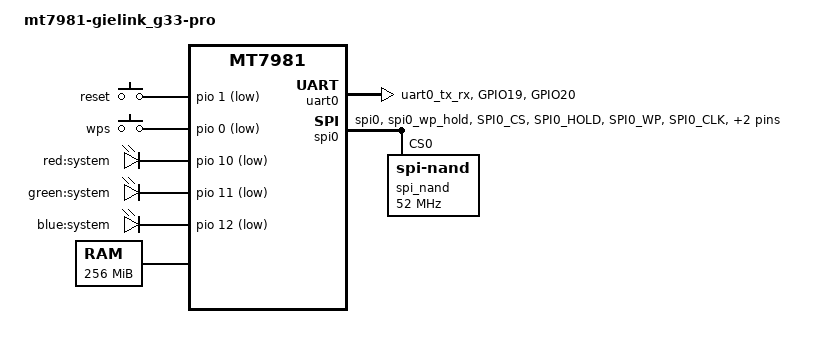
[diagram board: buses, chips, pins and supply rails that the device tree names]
// SPDX-License-Identifier: GPL-2.0

/dts-v1/;
#include "mt7981.dtsi"
#include <dt-bindings/gpio/gpio.h>
#include <dt-bindings/input/input.h>

/ {
	#address-cells = <1>;
	#size-cells = <1>;
	model = "mt7981-gielink_g33-pro";
	compatible = "mediatek,mt7981", "mediatek,mt7981-rfb";

	chosen {
		stdout-path = &uart0;
		tick-timer = &timer0;
	};

	config {
		bootcmd = "mtkboardboot";
		blink_led = "red:system";
		system_led = "blue:system";
	};

	mtd-layout {
		layout@0 {
			label = "default";
			mtdids = "nmbm0=nmbm0";
			mtdparts = "nmbm0:1024k(bl2),512k(u-boot-env),2048k(factory),2048k(fip),49152k(ubi),49152k(ubi1)";
		};

		layout@1 {
			label = "expand(114m)";
			mtdids = "nmbm0=nmbm0";
			mtdparts = "nmbm0:1024k(bl2),512k(u-boot-env),2048k(factory),2048k(fip),116736k(ubi)";
		};
	};

	gpio-keys {
		compatible = "gpio-keys";
		pinctrl-names = "default";
		pinctrl-0 = <&key_pins>;

		reset-button {
			label = "reset";
			linux,code = <KEY_RESTART>;
			gpios = <&pio 1 GPIO_ACTIVE_LOW>;
			debounce-interval = <20>;
		};

		wps-button {
			label = "wps";
			linux,code = <KEY_WPS_BUTTON>;
			gpios = <&pio 0 GPIO_ACTIVE_LOW>;
			debounce-interval = <20>;
		};
	};

	leds {
		compatible = "gpio-leds";
		pinctrl-names = "default";
		pinctrl-0 = <&led_pins>;

		led-0 {
			label = "red:system";
			gpios = <&pio 10 GPIO_ACTIVE_LOW>;
			default-state = "off";
		};

		led-1 {
			label = "green:system";
			gpios = <&pio 11 GPIO_ACTIVE_LOW>;
			default-state = "off";
		};
		
		led-2 {
			label = "blue:system";
			gpios = <&pio 12 GPIO_ACTIVE_LOW>;
			default-state = "off";
		};
	};

	memory@40000000 {
		device_type = "memory";
		reg = <0x40000000 0x10000000>;
	};

	bl2_verify {
		bl2_compatible = "spim-nand";
	};
};

&uart0 {
	status = "okay";
	pinctrl-names = "default";
	pinctrl-0 = <&uart0_pins>;
};

&pio {
	spi_flash_pins: spi0-pins-func-1 {
		mux {
			function = "flash";
			groups = "spi0", "spi0_wp_hold";
		};

		conf-pu {
			pins = "SPI0_CS", "SPI0_HOLD", "SPI0_WP";
			drive-strength = <MTK_DRIVE_4mA>;
			bias-pull-up = <MTK_PUPD_SET_R1R0_11>;
		};

		conf-pd {
			pins = "SPI0_CLK", "SPI0_MOSI", "SPI0_MISO";
			drive-strength = <MTK_DRIVE_4mA>;
			bias-pull-down = <MTK_PUPD_SET_R1R0_11>;
		};
	};

	key_pins: key-pins {
		mux {
			function = "gpio";
			groups = "gpio0", "gpio1";
		};
		conf-pu {
			pins = "GPIO0", "GPIO1";
			drive-strength = <MTK_DRIVE_4mA>;
			bias-pull-up = <MTK_PUPD_SET_R1R0_11>;
		};
	};

	led_pins: led-pins {
		mux {
			function = "gpio";
			groups = "gpio10", "gpio11", "gpio12";
		};
		conf-pd {
			pins = "GPIO10", "GPIO11", "GPIO12";
			drive-strength = <MTK_DRIVE_4mA>;
			bias-pull-down = <MTK_PUPD_SET_R1R0_11>;
		};
	};

	uart0_pins: uart0-pins {
		mux {
			function = "uart0";
			groups = "uart0_tx_rx";
		};
		conf {
			pins = "GPIO19", "GPIO20";
			drive-strength = <MTK_DRIVE_4mA>;
			bias-none = <MTK_PUPD_SET_R1R0_00>;
		};
	};
};

&spi0 {
	#address-cells = <1>;
	#size-cells = <0>;
	pinctrl-names = "default";
	pinctrl-0 = <&spi_flash_pins>;
	status = "okay";
	must_tx;
	enhance_timing;
	dma_ext;
	ipm_design;
	support_quad;
	tick_dly = <2>;
	sample_sel = <0>;

	spi_nand@0 {
		compatible = "spi-nand";
		reg = <0>;
		spi-max-frequency = <52000000>;
	};
};

&watchdog {
	status = "disabled";
};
